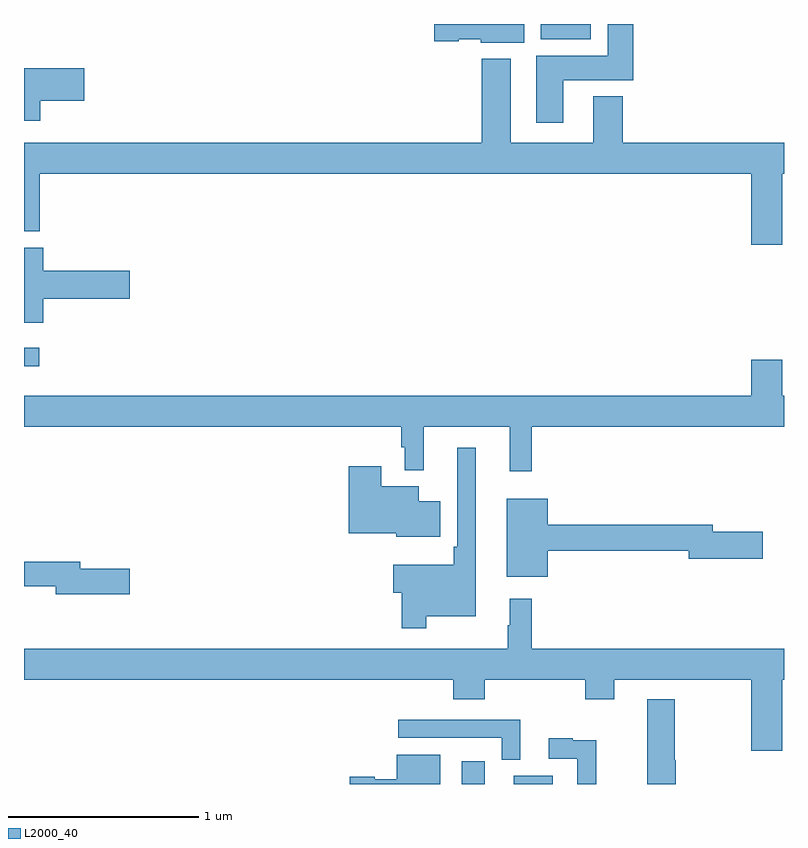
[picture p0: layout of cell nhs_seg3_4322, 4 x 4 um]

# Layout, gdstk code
import gdstk
lib = gdstk.Library(unit=1e-6, precision=1e-09)
def R(c, l, rs):  # rectangles x0, y0, x1, y1
    for r in rs: c.add(gdstk.rectangle(r[:2], r[2:], *l))
def P(c, l, *ps):  # polygons
    for p in ps: c.add(gdstk.Polygon(p, *l))
L2000_40 = (2000, 40)

nhs_seg3_4322 = lib.new_cell('nhs_seg3_4322')
R(nhs_seg3_4322, L2000_40, [(343.304,668.4,343.426,668.521), (343.577,668.4,343.783,668.443), (341,670.598,341.08,670.696), (343.721,672.32,343.984,672.4)])
P(nhs_seg3_4322, L2000_40, [(343.633,672.4),(343.158,672.4),(343.158,672.308),(343.287,672.308),(343.287,672.32),(343.404,672.32),(343.404,672.302),(343.633,672.302)],
  [(343.837,672.104),(344.207,672.104),(344.207,672.4),(344.072,672.4),(344.072,672.232),(343.697,672.232),(343.697,671.88),(343.837,671.88)],
  [(344.992,671.612),(345,671.612),(345,671.776),(344.15,671.776),(344.15,672.019),(343.997,672.019),(343.997,671.776),(343.561,671.776),(343.561,672.217),(343.409,672.217),(343.409,671.776),(341,671.776),(341,671.308),(341.084,671.308),(341.084,671.612),(344.828,671.612),(344.828,671.238),(344.992,671.238)],
  [(341.086,671.996),(341.317,671.996),(341.317,672.167),(341,672.167),(341,671.891),(341.086,671.891)],
  [(341.102,670.955),(341.557,670.955),(341.557,671.102),(341.102,671.102),(341.102,671.223),(341,671.223),(341,670.827),(341.102,670.827)],
  [(343.673,670.28),(345,670.28),(345,670.444),(344.992,670.444),(344.992,670.633),(344.828,670.633),(344.828,670.444),(341,670.444),(341,670.28),(342.985,670.28),(342.985,670.173),(343.005,670.173),(343.005,670.052),(343.103,670.052),(343.103,670.28),(343.556,670.28),(343.556,670.047),(343.673,670.047)],
  [(343.117,669.284),(343.378,669.284),(343.378,670.171),(343.281,670.171),(343.281,669.649),(343.261,669.649),(343.261,669.553),(342.944,669.553),(342.944,669.406),(342.988,669.406),(342.988,669.219),(343.117,669.219)],
  [(343.192,669.889),(343.078,669.889),(343.078,669.967),(342.88,669.967),(342.88,670.072),(342.71,670.072),(342.71,669.719),(342.96,669.719),(342.96,669.701),(343.192,669.701)],
  [(343.756,669.628),(344.498,669.628),(344.498,669.586),(344.887,669.586),(344.887,669.728),(344.626,669.728),(344.626,669.764),(343.756,669.764),(343.756,669.901),(343.541,669.901),(343.541,669.491),(343.756,669.491)],
  [(341.557,669.533),(341.296,669.533),(341.296,669.569),(341,669.569),(341,669.441),(341.168,669.441),(341.168,669.398),(341.557,669.398)],
  [(344.992,668.948),(345,668.948),(345,669.112),(343.673,669.112),(343.673,669.376),(343.556,669.376),(343.556,669.236),(343.545,669.236),(343.545,669.112),(341,669.112),(341,668.948),(343.259,668.948),(343.259,668.846),(343.424,668.846),(343.424,668.948),(343.955,668.948),(343.955,668.846),(344.107,668.846),(344.107,668.948),(344.828,668.948),(344.828,668.574),(344.992,668.574)],
  [(344.429,668.525),(344.424,668.525),(344.424,668.845),(344.279,668.845),(344.279,668.4),(344.429,668.4)],
  [(343.612,668.739),(342.969,668.739),(342.969,668.643),(343.515,668.643),(343.515,668.528),(343.612,668.528)],
  [(344.012,668.63),(343.889,668.63),(343.889,668.641),(343.761,668.641),(343.761,668.532),(343.911,668.532),(343.911,668.4),(344.012,668.4)],
  [(343.192,668.554),(342.962,668.554),(342.962,668.425),(342.846,668.425),(342.846,668.438),(342.714,668.438),(342.714,668.4),(343.192,668.4)])

lib.write_gds('nhs_seg3_4322.gds')
